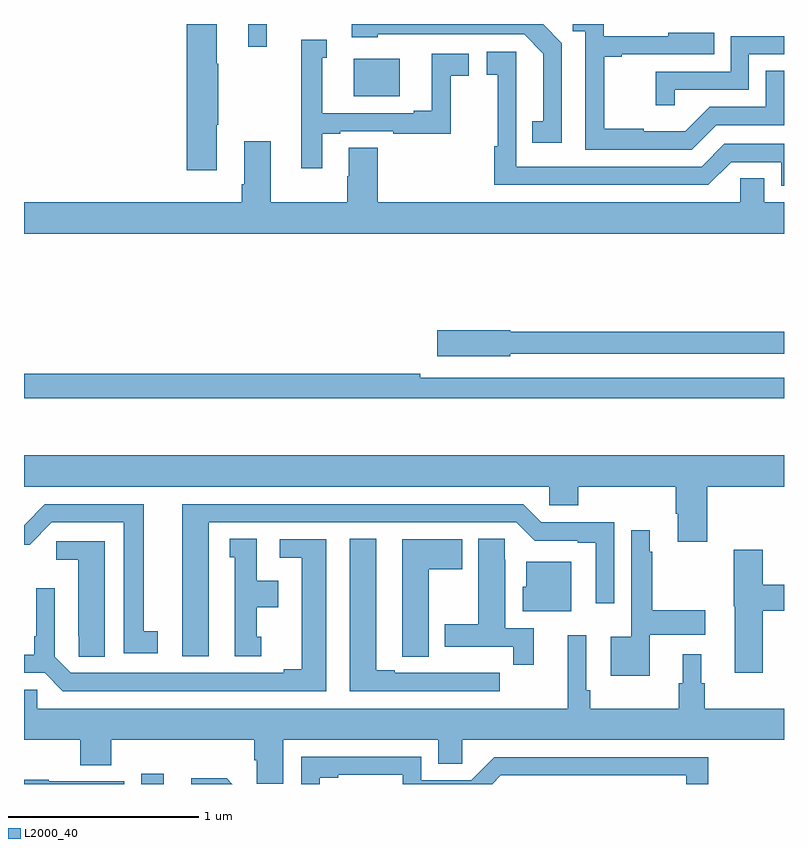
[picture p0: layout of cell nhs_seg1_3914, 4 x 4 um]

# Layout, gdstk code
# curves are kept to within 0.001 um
import gdstk
lib = gdstk.Library(unit=1e-6, precision=1e-09)
def R(c, l, rs):  # rectangles x0, y0, x1, y1
    for r in rs: c.add(gdstk.rectangle(r[:2], r[2:], *l))
def P(c, l, *ps):  # polygons
    for p in ps: c.add(gdstk.Polygon(p, *l))
L2000_40 = (2000, 40)

nhs_seg1_3914 = lib.new_cell('nhs_seg1_3914')
R(nhs_seg1_3914, L2000_40, [(325.617,518.199,325.735,518.254), (326.735,521.819,326.977,522.016), (326.18,522.078,326.277,522.199)])
P(nhs_seg1_3914, L2000_40, [(328.644,521.667),(329,521.667),(329,521.954),(328.904,521.954),(328.904,521.763),(328.608,521.763),(328.48,521.635),(328.262,521.635),(328.262,521.647),(328.055,521.647),(328.055,522.027),(328.147,522.027),(328.147,522.039),(328.634,522.039),(328.634,522.154),(328.391,522.154),(328.391,522.135),(328.05,522.135),(328.05,522.199),(327.889,522.199),(327.889,522.161),(327.954,522.161),(327.954,521.538),(328.515,521.538)],
  [(327.831,522.098),(327.732,522.197),(327.732,522.199),(326.726,522.199),(326.726,522.128),(326.862,522.128),(326.862,522.144),(327.633,522.144),(327.734,522.043),(327.734,521.687),(327.676,521.687),(327.676,521.574),(327.831,521.574)],
  [(326.014,521.668),(326.022,521.668),(326.022,521.99),(326.014,521.99),(326.014,522.199),(325.856,522.199),(325.856,521.43),(326.014,521.43)],
  [(328.425,521.853),(328.815,521.853),(328.815,522.039),(329,522.039),(329,522.135),(328.719,522.135),(328.719,521.949),(328.324,521.949),(328.324,521.772),(328.425,521.772)],
  [(326.569,521.621),(326.665,521.621),(326.665,521.634),(326.944,521.634),(326.944,521.621),(327.246,521.621),(327.246,521.926),(327.34,521.926),(327.34,522.042),(327.146,522.042),(327.146,521.743),(327.05,521.743),(327.05,521.73),(326.569,521.73),(326.569,522.021),(326.593,522.021),(326.593,522.115),(326.46,522.115),(326.46,521.683),(326.459,521.683),(326.459,521.439),(326.569,521.439)],
  [(329,521.568),(328.686,521.568),(328.566,521.448),(327.591,521.448),(327.592,522.052),(327.435,522.052),(327.435,521.931),(327.493,521.931),(327.493,521.555),(327.475,521.555),(327.475,521.352),(328.602,521.352),(328.722,521.472),(328.986,521.472),(328.986,521.349),(329,521.349)],
  [(329,521.26),(328.897,521.26),(328.897,521.387),(328.77,521.387),(328.77,521.26),(326.861,521.26),(326.861,521.549),(326.708,521.549),(326.708,521.399),(326.701,521.399),(326.701,521.26),(326.299,521.26),(326.299,521.581),(326.159,521.581),(326.159,521.356),(326.147,521.356),(326.147,521.26),(325,521.26),(325,521.096),(329,521.096)],
  [(327.558,520.464),(329,520.464),(329,520.58),(327.558,520.58),(327.558,520.586),(327.174,520.586),(327.174,520.451),(327.558,520.451)],
  [(329,520.338),(327.086,520.338),(327.086,520.358),(325,520.358),(325,520.23),(329,520.23)],
  [(328.595,519.764),(329,519.764),(329,519.928),(325,519.928),(325,519.764),(327.765,519.764),(327.765,519.666),(327.917,519.666),(327.917,519.764),(328.43,519.764),(328.43,519.622),(328.442,519.622),(328.442,519.474),(328.595,519.474)],
  [(325.972,519.576),(327.591,519.576),(327.687,519.48),(327.914,519.48),(327.914,519.468),(328.01,519.468),(328.01,519.15),(328.107,519.15),(328.107,519.576),(327.723,519.576),(327.627,519.672),(325.832,519.672),(325.832,518.871),(325.972,518.871)],
  [(325.705,519.002),(325.63,519.002),(325.63,519.672),(325.11,519.672),(325,519.562),(325,519.459),(325.029,519.459),(325.146,519.576),(325.526,519.576),(325.526,518.886),(325.705,518.886)],
  [(328.294,518.984),(328.585,518.984),(328.585,519.114),(328.306,519.114),(328.306,519.422),(328.294,519.422),(328.294,519.535),(328.197,519.535),(328.197,518.974),(328.088,518.974),(328.088,518.768),(328.294,518.768)],
  [(327.505,518.784),(327.392,518.784),(327.392,518.785),(327.226,518.785),(327.226,518.784),(326.95,518.784),(326.95,518.799),(326.854,518.799),(326.854,519.491),(326.714,519.491),(326.714,518.688),(327.505,518.688)],
  [(327.683,519.018),(327.532,519.018),(327.532,519.38),(327.531,519.38),(327.531,519.491),(327.392,519.491),(327.392,519.039),(327.215,519.039),(327.215,518.922),(327.574,518.922),(327.574,518.826),(327.683,518.826)],
  [(326.248,518.973),(326.224,518.973),(326.224,519.128),(326.338,519.128),(326.338,519.268),(326.224,519.268),(326.224,519.491),(326.084,519.491),(326.084,519.393),(326.108,519.393),(326.108,518.871),(326.248,518.871)],
  [(327.13,519.328),(327.307,519.328),(327.307,519.487),(326.99,519.487),(326.99,518.977),(326.991,518.977),(326.991,518.869),(327.13,518.869)],
  [(326.59,519.486),(326.346,519.486),(326.346,519.39),(326.462,519.39),(326.462,518.804),(326.366,518.804),(326.366,518.784),(325.245,518.784),(325.161,518.868),(325.161,519.229),(325.065,519.229),(325.065,518.977),(325.053,518.977),(325.053,518.88),(325,518.88),(325,518.784),(325.109,518.784),(325.205,518.688),(326.59,518.688)],
  [(325.426,519.477),(325.17,519.477),(325.17,519.38),(325.286,519.38),(325.286,518.977),(325.287,518.977),(325.287,518.869),(325.426,518.869)],
  [(328.889,519.112),(329,519.112),(329,519.248),(328.889,519.248),(328.889,519.433),(328.735,519.433),(328.735,519.135),(328.742,519.135),(328.742,518.784),(328.889,518.784)],
  [(327.88,519.37),(327.644,519.37),(327.644,519.237),(327.626,519.237),(327.626,519.107),(327.88,519.107)],
  [(325.071,518.694),(325,518.694),(325,518.432),(325.295,518.432),(325.295,518.299),(325.46,518.299),(325.46,518.432),(326.213,518.432),(326.213,518.323),(326.226,518.323),(326.226,518.2),(326.365,518.2),(326.365,518.432),(327.179,518.432),(327.179,518.305),(327.306,518.305),(327.306,518.432),(329,518.432),(329,518.596),(328.583,518.596),(328.583,518.73),(328.564,518.73),(328.564,518.881),(328.466,518.881),(328.466,518.73),(328.447,518.73),(328.447,518.596),(327.98,518.596),(327.98,518.692),(327.96,518.692),(327.96,518.983),(327.863,518.983),(327.863,518.596),(325.071,518.596)],
  [(326.557,518.232),(326.653,518.232),(326.653,518.247),(326.994,518.247),(326.994,518.199),(327.465,518.199),(327.51,518.244),(328.485,518.244),(328.485,518.199),(328.601,518.199),(328.601,518.34),(327.474,518.34),(327.354,518.22),(327.09,518.22),(327.09,518.343),(326.46,518.343),(326.46,518.199),(326.557,518.199)],
  [(326.068,518.228),(325.881,518.228),(325.881,518.199),(326.097,518.199)],
  [(325.527,518.214),(325.131,518.214),(325.131,518.221),(325,518.221),(325,518.199),(325.527,518.199)])

lib.write_gds('nhs_seg1_3914.gds')
